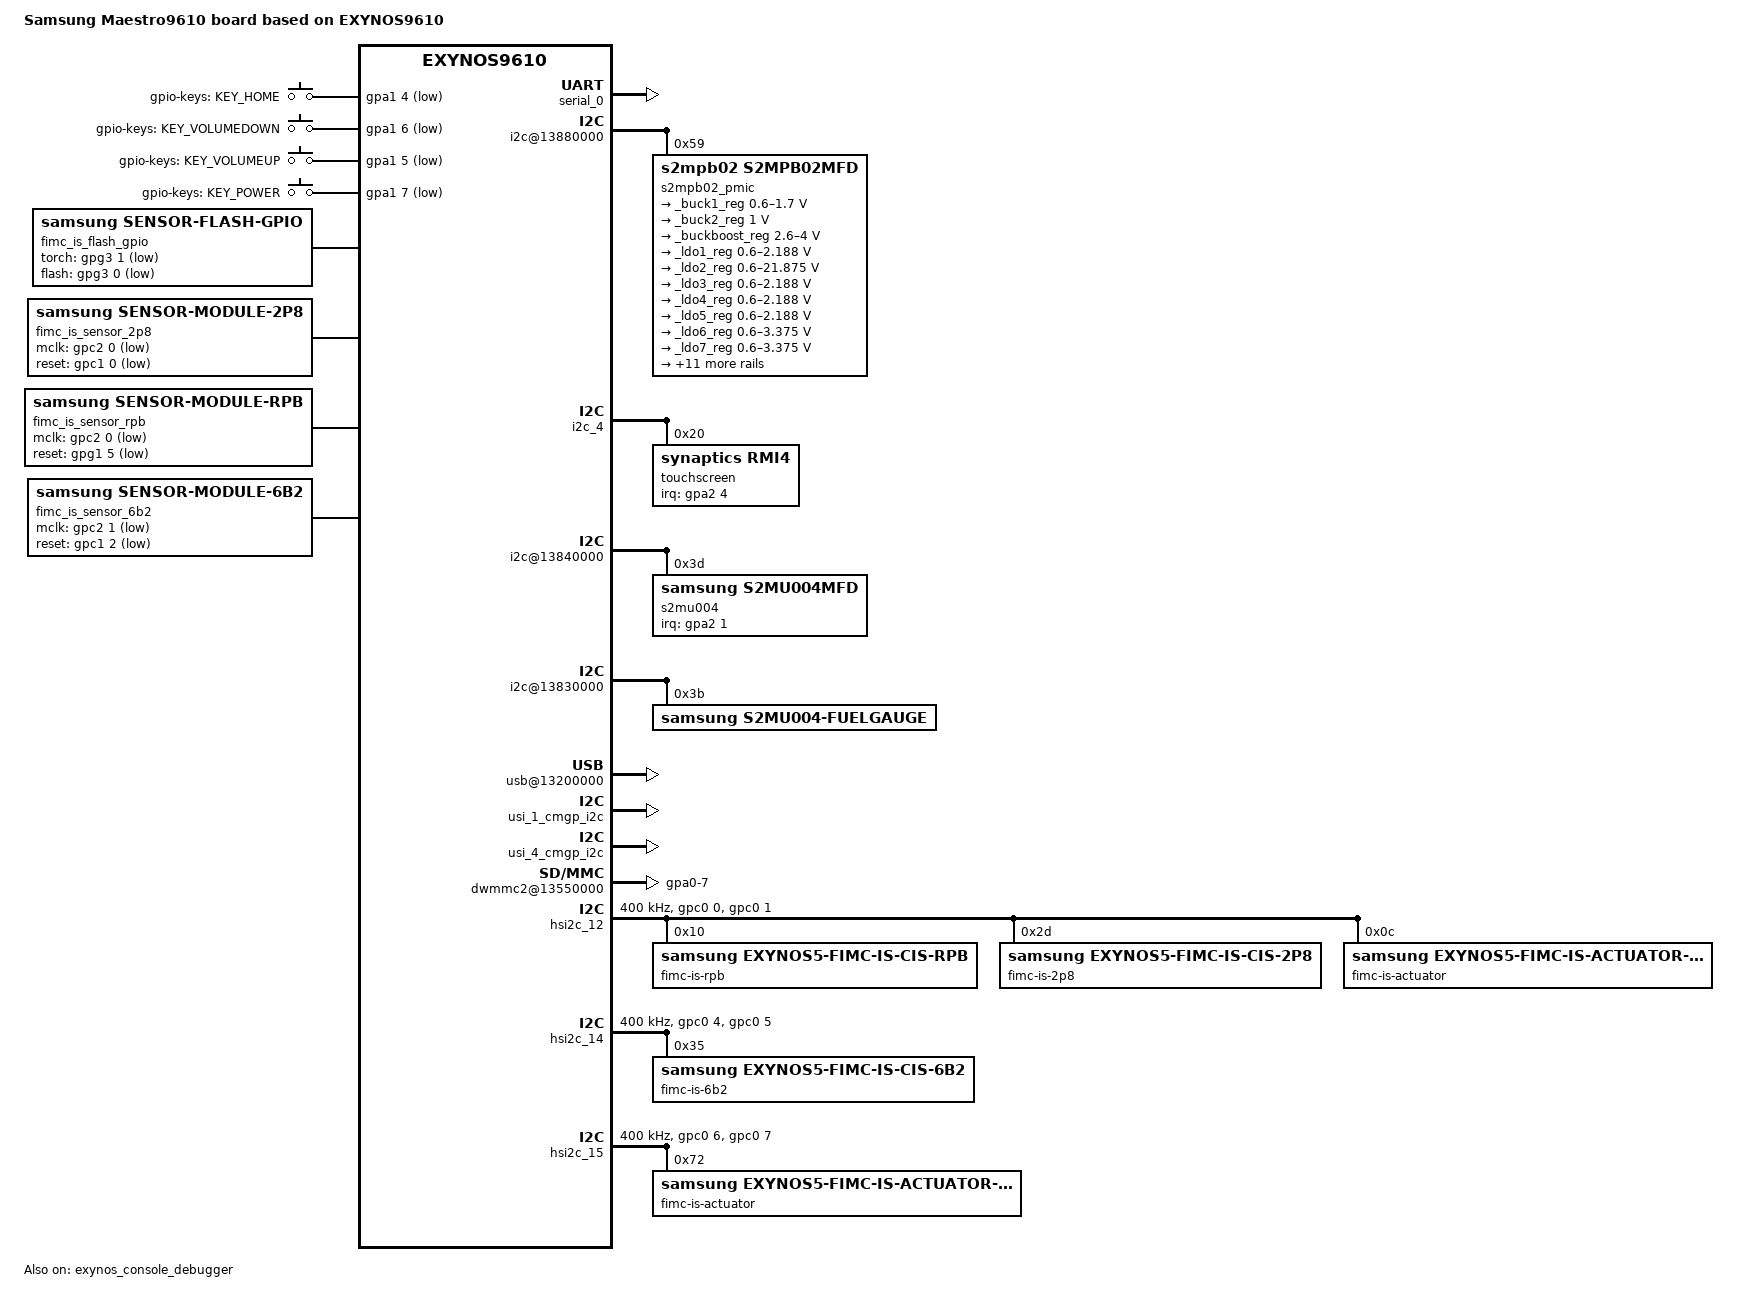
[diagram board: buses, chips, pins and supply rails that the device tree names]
/*
 * SAMSUNG EXYNOS9610 board device tree source
 *
 * Copyright (c) 2017 Samsung Electronics Co., Ltd.
 *		http://www.samsung.com
 *
 * This program is free software; you can redistribute it and/or modify
 * it under the terms of the GNU General Public License version 2 as
 * published by the Free Software Foundation.
 */

/dts-v1/;
#include "exynos9610-rmem.dtsi"
#include "exynos9610.dtsi"
#include "exynos9610-display-lcd.dtsi"
#include "exynos9610_battery_data.dtsi"
#include "modem-ss360ap-sit-pdata.dtsi"

/ {
	model = "Samsung Maestro9610 board based on EXYNOS9610";
	compatible = "samsung,exynos9610", "samsung,Maestro9610";

	ect {
		parameter_address = <0x90000000>;
		parameter_size = <0x19000>;
	};

	memory@80000000 {
		device_type = "memory";
		reg = <0x0 0x80000000 0x80000000>;
	};

	memory@880000000 {
		device_type = "memory";
		reg = <0x00000008 0x80000000 0x80000000>;
	};

	chosen {
		bootargs = "console=ram root=/dev/ram0 clk_ignore_unused bcm_setup=0xffffff80f8e00000 androidboot.hardware=samsungexynos9610 androidboot.selinux=permissive androidboot.debug_level=0x4948 firmware_class.path=/vendor/firmware ecd_setup=normal reserve-fimc=0xffffff80fa000000";
		linux,initrd-start = <0x84000000>;
		linux,initrd-end = <0x841FFFFF>;
	};

	fixed-rate-clocks {
		oscclk {
			compatible = "samsung,exynos9610-oscclk";
			clock-frequency = <26000000>;
		};
	};

	firmware {
		android {
			compatible = "android,firmware";
			fstab {
				compatible = "android,fstab";
				system {
					compatible = "android,system";
					dev = "/dev/block/platform/13520000.ufs/by-name/system";
					type = "ext4";
					mnt_flags = "ro";
					fsmgr_flags = "wait";
				};
				vendor {
					compatible = "android,vendor";
					dev = "/dev/block/platform/13520000.ufs/by-name/vendor";
					type = "ext4";
					mnt_flags = "ro";
					fsmgr_flags = "wait";
				};
			};
		};
	};

	serial_0: uart@13820000 {
		status = "okay";
	};

	/* UART_DBG */
	exynos_console_debugger {
		compatible = "samsung,exynos_console_debugger";
		reg = <0x0 0x13820000 0x100>;
		interrupts = <0 246 0>;
		interrupt-names = "uart_irq";
		pinctrl-names = "default";
		pinctrl-0 = <&uart0_bus>;
		uart_port = <0>;
		/* <sfr_base_address sfr_size> */
		sfr_reg = <0x10000000 0x10000000>;
		samsung,usi-serial-v2;
		status = "ok";
       };

	dsim_0: dsim@0x148E0000 {
		lcd_info = <&s6e3fa0>;
		/* reset */
		gpios = <&gpg1 4 0x1>, <&gpg1 7 0x1>;
	};

	pinctrl@11850000 {
		pmic_irq: pmic-irq {
			samsung,pins = "gpa2-0";
			samsung,pin-pud = <3>;
			samsung,pin-drv = <3>;
		};
		sub_pmic_irq: sub-pmic-irq {
			samsung,pins = "gpa1-3";
			samsung,pin-function = <0>;
			samsung,pin-pud = <0>;
			samsung,pin-drv = <0>;
		};
	};

	pinctrl@139B0000 {
		/* Warm reset information from AP */
		pm_wrsti: pm-wrsti {
			samsung,pins = "gpg0-7";
			samsung,pin-con-pdn = <3>;
		};
	};

	exynos_rgt {
		compatible = "samsung,exynos-rgt";
	};

	mailbox_cp: mcu_ipc@11920000 {
		compatible = "samsung,exynos-shd-ipc-mailbox";
		reg = <0x0 0x11920000 0x180>;
		mcu,name = "mcu_ipc_cp";
		mcu,id = <0>;
		interrupts = <0 40 0 >;
	};

	speedy@11a10000 {
		status = "okay";

		s2mpu09mfd@00 {
			compatible = "samsung,s2mpu09mfd";
			acpm-ipc-channel = <2>;
			i2c-speedy-address;
			s2mpu09,wakeup = "enabled";
			s2mpu09,irq-gpio = <&gpa2 0 0>;
			reg = <0x00>;
			interrupts = <2 0 0>;
			interrupt-parent = <&gpa2>;
			pinctrl-names = "default";
			pinctrl-0 = <&pmic_irq &pm_wrsti>;
			/* RTC: wtsr/smpl */
			wtsr_en = "enabled"; /* enable */
			smpl_en = "enabled"; /* enable */
			wtsr_timer_val = <3>;	/* 1000ms */
			smpl_timer_val = <4>;	/* 500ms */
			check_jigon = <0>; /* do not check jigon */
			/* RTC: If it's first boot, reset rtc to 1/1/2017 12:00:00(Sun) */
			init_time,sec = <0>;
			init_time,min = <0>;
			init_time,hour = <12>;
			init_time,mday = <1>;
			init_time,mon = <0>;
			init_time,year = <117>;
			init_time,wday = <0>;

			regulators {
				b1_reg: BUCK1 {
					regulator-name = "vdd_mif";
					regulator-min-microvolt = <500000>;
					regulator-max-microvolt = <1100000>;
					regulator-always-on;
					regulator-ramp-delay = <12000>;
					regulator-initial-mode = <2>;
				};

				b2_reg: BUCK2 {
					regulator-name = "vdd_cpucl1";
					regulator-min-microvolt = <500000>;
					regulator-max-microvolt = <1300000>;
					regulator-always-on;
					regulator-ramp-delay = <12000>;
					regulator-initial-mode = <1>;
				};

				b3_reg: BUCK3 {
					regulator-name = "vdd_cpucl0";
					regulator-min-microvolt = <500000>;
					regulator-max-microvolt = <1300000>;
					regulator-always-on;
					regulator-ramp-delay = <12000>;
					regulator-initial-mode = <1>;
				};

				b4_reg: BUCK4{
					regulator-name = "vdd_int";
					regulator-min-microvolt = <500000>;
					regulator-max-microvolt = <1100000>;
					regulator-always-on;
					regulator-ramp-delay = <12000>;
					regulator-initial-mode = <2>;
				};

				b5_reg: BUCK5 {
					regulator-name = "vdd_g3d";
					regulator-min-microvolt = <500000>;
					regulator-max-microvolt = <1200000>;
					regulator-always-on;
					regulator-ramp-delay = <12000>;
					regulator-initial-mode = <2>;
				};

				b6_reg: BUCK6 {
					regulator-name = "vdd_cam_vipx";
					regulator-min-microvolt = <500000>;
					regulator-max-microvolt = <1300000>;
					regulator-always-on;
					regulator-ramp-delay = <12000>;
					regulator-initial-mode = <2>;
				};

				b7_reg: BUCK7 {
					regulator-name = "vdd2_mem";
					regulator-min-microvolt = <500000>;
					regulator-max-microvolt = <1300000>;
					regulator-always-on;
					regulator-ramp-delay = <12000>;
					regulator-initial-mode = <3>;
				};

				b8_reg: BUCK8 {
					regulator-name = "vdd_lldo";
					regulator-min-microvolt = <1200000>;
					regulator-max-microvolt = <1500000>;
					regulator-always-on;
					regulator-ramp-delay = <12000>;
					regulator-initial-mode = <3>;
				};

				b9_reg: BUCK9 {
					regulator-name = "vdd_mldo";
					regulator-min-microvolt = <1800000>;
					regulator-max-microvolt = <2100000>;
					regulator-always-on;
					regulator-ramp-delay = <12000>;
					regulator-initial-mode = <3>;
				};

				l1_reg: LDO1 {
					regulator-name = "vdd_ldo1";
					regulator-min-microvolt = <700000>;
					regulator-max-microvolt = <1300000>;
					regulator-always-on;
					regulator-ramp-delay = <12000>;
					regulator-initial-mode = <3>;
				};

				l2_reg: LDO2 {
					regulator-name = "vqmmc";
					regulator-min-microvolt = <1800000>;
					regulator-max-microvolt = <3375000>;
					regulator-ramp-delay = <12000>;
				};

				l3_reg: LDO3 {
					regulator-name = "vdd_ldo3";
					regulator-min-microvolt = <800000>;
					regulator-max-microvolt = <1950000>;
					regulator-always-on;
					regulator-ramp-delay = <12000>;
					regulator-initial-mode = <3>;
				};

				l4_reg: LDO4 {
					regulator-name = "vdd_ldo4";
					regulator-min-microvolt = <500000>;
					regulator-max-microvolt = <1100000>;
					regulator-always-on;
					regulator-ramp-delay = <12000>;
					regulator-initial-mode = <3>;
				};

				l5_reg: LDO5 {
					regulator-name = "vdd_ldo5";
					regulator-min-microvolt = <800000>;
					regulator-max-microvolt = <1300000>;
					regulator-always-on;
					regulator-ramp-delay = <12000>;
					regulator-initial-mode = <3>;
				};

				l6_reg: LDO6 {
					regulator-name = "vdd_ldo6";
					regulator-min-microvolt = <800000>;
					regulator-max-microvolt = <1300000>;
					regulator-always-on;
					regulator-ramp-delay = <12000>;
					regulator-initial-mode = <3>;
				};

				l7_reg: LDO7 {
					regulator-name = "vdd_ldo7";
					regulator-min-microvolt = <800000>;
					regulator-max-microvolt = <1950000>;
					regulator-always-on;
					regulator-ramp-delay = <12000>;
					regulator-initial-mode = <3>;
				};

				l8_reg: LDO8 {
					regulator-name = "vdd_ldo8";
					regulator-min-microvolt = <500000>;
					regulator-max-microvolt = <1300000>;
					regulator-always-on;
					regulator-ramp-delay = <12000>;
					regulator-initial-mode = <3>;
				};

				l9_reg: LDO9 {
					regulator-name = "vdd_ldo9";
					regulator-min-microvolt = <500000>;
					regulator-max-microvolt = <1300000>;
					regulator-always-on;
					regulator-ramp-delay = <12000>;
					regulator-initial-mode = <1>;
				};

				l10_reg: LDO10 {
					regulator-name = "vdd_ldo10";
					regulator-min-microvolt = <500000>;
					regulator-max-microvolt = <1300000>;
					regulator-always-on;
					regulator-ramp-delay = <12000>;
					regulator-initial-mode = <3>;
				};

				l11_reg: LDO11 {
					regulator-name = "vdd_ldo11";
					regulator-min-microvolt = <500000>;
					regulator-max-microvolt = <1300000>;
					regulator-always-on;
					regulator-ramp-delay = <12000>;
					regulator-initial-mode = <3>;
				};

				l12_reg: LDO12 {
					regulator-name = "vdd_ldo12";
					regulator-min-microvolt = <800000>;
					regulator-max-microvolt = <1300000>;
					regulator-always-on;
					regulator-ramp-delay = <12000>;
					regulator-initial-mode = <3>;
				};

				l13_reg: LDO13 {
					regulator-name = "vdd_ldo13";
					regulator-min-microvolt = <800000>;
					regulator-max-microvolt = <1950000>;
					regulator-always-on;
					regulator-ramp-delay = <12000>;
					regulator-initial-mode = <3>;
				};

				l14_reg: LDO14 {
					regulator-name = "vdd_ldo14";
					regulator-min-microvolt = <1800000>;
					regulator-max-microvolt = <3375000>;
					regulator-always-on;
					regulator-ramp-delay = <12000>;
					regulator-initial-mode = <3>;
				};

				l33_reg: LDO33 {
					regulator-name = "vdd_ldo33";
					regulator-min-microvolt = <800000>;
					regulator-max-microvolt = <1950000>;
					regulator-ramp-delay = <12000>;
				};

				l34_reg: LDO34 {
					regulator-name = "vdd_ldo34";
					regulator-min-microvolt = <1800000>;
					regulator-max-microvolt = <3375000>;
					regulator-ramp-delay = <12000>;
				};

				l35_reg: LDO35 {
					regulator-name = "vmmc";
					regulator-min-microvolt = <1800000>;
					regulator-max-microvolt = <3375000>;
					regulator-ramp-delay = <12000>;
				};

				l36_reg: LDO36 {
					regulator-name = "vdd_ldo36";
					regulator-min-microvolt = <500000>;
					regulator-max-microvolt = <1300000>;
					regulator-always-on;
					regulator-ramp-delay = <12000>;
					regulator-initial-mode = <3>;
				};

				l37_reg: LDO37 {
					regulator-name = "vdd_ldo37";
					regulator-min-microvolt = <1800000>;
					regulator-max-microvolt = <3375000>;
					regulator-ramp-delay = <12000>;
				};

				l38_reg: LDO38 {
					regulator-name = "vdd_ldo38";
					regulator-min-microvolt = <1800000>;
					regulator-max-microvolt = <3375000>;
					regulator-ramp-delay = <12000>;
					regulator-always-on;
				};

				l39_reg: LDO39 {
					regulator-name = "vdd_ldo39";
					regulator-min-microvolt = <800000>;
					regulator-max-microvolt = <1950000>;
					regulator-ramp-delay = <12000>;
					regulator-always-on;
				};

				l40_reg: LDO40 {
					regulator-name = "vdd_ldo40";
					regulator-min-microvolt = <1800000>;
					regulator-max-microvolt = <3375000>;
					regulator-ramp-delay = <12000>;
				};

				l41_reg: LDO41 {
					regulator-name = "vdd_ldo41";
					regulator-min-microvolt = <1800000>;
					regulator-max-microvolt = <3375000>;
					regulator-ramp-delay = <12000>;
				};

				l42_reg: LDO42 {
					regulator-name = "vdd_ldo42";
					regulator-min-microvolt = <800000>;
					regulator-max-microvolt = <1950000>;
					regulator-ramp-delay = <12000>;
				};

				l43_reg: LDO43 {
					regulator-name = "vdd_ldo43";
					regulator-min-microvolt = <500000>;
					regulator-max-microvolt = <1300000>;
					regulator-always-on;
					regulator-ramp-delay = <12000>;
					regulator-initial-mode = <3>;
				};

				l44_reg: LDO44 {
					regulator-name = "vdd_ldo44";
					regulator-min-microvolt = <800000>;
					regulator-max-microvolt = <1300000>;
					regulator-ramp-delay = <12000>;
				};
			};
		};
	};

	i2c@13880000 {
		status = "okay";
		s2mpb02_pmic@59 {
			compatible = "s2mpb02,s2mpb02mfd";
			reg = <0x59>;

			s2mpb02,wakeup;
			pinctrl-names = "default";
			pinctrl-0 = <&sub_pmic_irq>;

			regulators {
				_buck1_reg: s2mpb02-buck1 {
					regulator-name = "VDD_EXT_1P3_PB03";
					regulator-min-microvolt = <600000>;
					regulator-max-microvolt = <1700000>;
					regulator-always-on;
					regulator-boot-on;
				};

				_buck2_reg: s2mpb02-buck2 {
					regulator-name = "VDDD_1.0V_CAM";
					regulator-min-microvolt = <1000000>;
					regulator-max-microvolt = <1000000>;
					/* regulator-always-on; */
					/* regulator-boot-on; */
				};

				_buckboost_reg: s2mpb02-bb {
					regulator-name = "VREG_BOOST_BYP";
					regulator-min-microvolt = <2600000>;
					regulator-max-microvolt = <4000000>;
					regulator-always-on;
					regulator-boot-on;
				};

				_ldo1_reg: s2mpb02-ldo1 {
					regulator-name = "S2MPB02_LDO1";
					regulator-min-microvolt = <600000>;
					regulator-max-microvolt = <2187500>;
				};

				_ldo2_reg: s2mpb02-ldo2 {
					regulator-name = "S2MPB02_LDO2";
					regulator-min-microvolt = <600000>;
					regulator-max-microvolt = <21875000>;
				};

				_ldo3_reg: s2mpb02-ldo3 {
					regulator-name = "VDDD_1.05V_SUB";
					regulator-min-microvolt = <600000>;
					regulator-max-microvolt = <2187500>;
				};

				_ldo4_reg: s2mpb02-ldo4 {
					regulator-name = "S2MPB02_LDO4";
					regulator-min-microvolt = <600000>;
					regulator-max-microvolt = <2187500>;
				};

				_ldo5_reg: s2mpb02-ldo5 {
					regulator-name = "VDDD_1.05V_VT";
					regulator-min-microvolt = <600000>;
					regulator-max-microvolt = <2187500>;
				};

				_ldo6_reg: s2mpb02-ldo6 {
					regulator-name = "VDDIO_1.8V_VT";
					regulator-min-microvolt = <600000>;
					regulator-max-microvolt = <3375000>;
				};

				_ldo7_reg: s2mpb02-ldo7 {
					regulator-name = "VDDIO_1.8V_SUB";
					regulator-min-microvolt = <600000>;
					regulator-max-microvolt = <3375000>;
				};

				_ldo8_reg: s2mpb02-ldo8 {
					regulator-name = "VDDIO_1.8V_CAM";
					regulator-min-microvolt = <1800000>;
					regulator-max-microvolt = <1800000>;
				};

				_ldo9_reg: s2mpb02-ldo9 {
					regulator-name = "DOVDD_VT_CAM_1V8";
					regulator-min-microvolt = <1800000>;
					regulator-max-microvolt = <1800000>;
				};

				_ldo10_reg: s2mpb02-ldo10 {
					regulator-name = "VDDD_1.8V_OIS";
					regulator-min-microvolt = <600000>;
					regulator-max-microvolt = <3375000>;
				};

				_ldo11_reg: s2mpb02-ldo11 {
					regulator-name = "VDDA_2.8V_CAM";
					regulator-min-microvolt = <2800000>;
					regulator-max-microvolt = <2800000>;
				};

				_ldo12_reg: s2mpb02-ldo12 {
					regulator-name = "VDDD_2.8V_OIS";
					regulator-min-microvolt = <2800000>;
					regulator-max-microvolt = <2800000>;
				};

				_ldo13_reg: s2mpb02-ldo13 {
					regulator-name = "VDDA_2.8V_VT";
					regulator-min-microvolt = <600000>;
					regulator-max-microvolt = <3375000>;
				};

				_ldo14_reg: s2mpb02-ldo14 {
					regulator-name = "VDD_VT_CAM_2V8";
					regulator-min-microvolt = <2800000>;
					regulator-max-microvolt = <2800000>;
				};

				_ldo15_reg: s2mpb02-ldo15 {
					regulator-name = "VDD_2.8V_AF";
					regulator-min-microvolt = <2800000>;
					regulator-max-microvolt = <2800000>;
				};

				_ldo16_reg: s2mpb02-ldo16 {
					regulator-name = "VDD_2.8V_OIS";
					regulator-min-microvolt = <2800000>;
					regulator-max-microvolt = <2800000>;
				};

				_ldo17_reg: s2mpb02-ldo17 {
					regulator-name = "S2MPB02_LDO17";
					regulator-min-microvolt = <600000>;
					regulator-max-microvolt = <3375000>;
				};

				_ldo18_reg: s2mpb02-ldo18 {
					regulator-name = "VDD_PROXY_LED_3P3";
					regulator-min-microvolt = <600000>;
					regulator-max-microvolt = <3375000>;
				};
			};

			torch {
				torch1-gpio = "gpg3-1";
				flash1-gpio = "gpg3-0";

				status = "okay";

				leds1 {
					ledname = "leds-sec1";
					id = <0>;
					brightness = <0xC>; /* (n+1)x100 : 1300mA */
					timeout = <0x7>; /* (n+1)x62.6 : 500ms */
					torch_table_enable = <0>;
				};

				leds2 {
					ledname = "torch-sec1";
					id = <1>;
					brightness = <0xC>; /* (n+1)x20 = 260mA */
					timeout = <0xF>;
					torch_table_enable = <1>;
					torch_table = <2 4 4 5 6 8 9 10 10 12>;
				};
			};
		};
	};

	gpio_keys {
		status = "okay";
		compatible = "gpio-keys";
		#address-cells = <1>;
		#size-cells = <0>;
		pinctrl-names = "default";
		pinctrl-0 = <&key_home &key_voldown &key_volup &key_power>;
		button@1 {
			label = "gpio-keys: KEY_HOME";
			linux,code = <172>;
			gpios = <&gpa1 4 0xf>;
			gpio-key,wakeup = <1>;
		};
		button@2 {
			label = "gpio-keys: KEY_VOLUMEDOWN";
			linux,code = <114>;
			gpios = <&gpa1 6 0xf>;
		};
		button@3 {
			label = "gpio-keys: KEY_VOLUMEUP";
			linux,code = <115>;
			gpios = <&gpa1 5 0xf>;
		};
		button@4 {
			label = "gpio-keys: KEY_POWER";
			linux,code = <116>;
			gpios = <&gpa1 7 0xf>;
			gpio-key,wakeup = <1>;
		};
	};

	pinctrl@11850000 {
		key_home: key-home {
			samsung,pins = "gpa1-4";
			samsung,pin-function = <0xf>;
			samsung,pin-pud = <0>;
			samsung,pin-drv = <0>;
		};

		key_voldown: key-voldown {
			samsung,pins = "gpa1-6";
			samsung,pin-function = <0xf>;
			samsung,pin-pud = <0>;
			samsung,pin-drv = <0>;
		};

		key_volup: key-volup {
			samsung,pins = "gpa1-5";
			samsung,pin-function = <0xf>;
			samsung,pin-pud = <0>;
			samsung,pin-drv = <0>;
		};
		key_power: key-power {
			samsung,pins = "gpa1-7";
			samsung,pin-function = <0xf>;
			samsung,pin-pud = <0>;
			samsung,pin-drv = <0>;
		};
	};

	i2c_4:i2c@13870000 {
		status = "okay";
		#address-cells = <1>;
		#size-cells = <0>;
		touchscreen@20 {
			compatible = "synaptics,rmi4";
			reg = <0x20>;
			pinctrl-names = "on_state", "off_state";
			pinctrl-0 = <&attn_irq>;
			pinctrl-1 = <&attn_input>;
			synaptics,irq_gpio = <&gpa2 4 0>;
			synaptics,irq_type = <8200>;
			synaptics,max_coords = <1440 2560>;     /* x y */
			synaptics,num_lines = <29 16>;          /* rx tx */
			synaptics,regulator_dvdd = "VDDD_1.8V_OIS";
			synaptics,regulator_avdd = "vdd_ldo41";
		};
	};

	pinctrl@11850000 {
		attn_irq: attn-irq {
			samsung,pins = "gpa2-4";
			samsung,pin-function = <0xf>;
			samsung,pin-pud = <0>;
			samsung,pin-drv = <0>;
		};
		attn_input: attn-input {
			samsung,pins = "gpa2-4";
			samsung,pin-function = <0>;
			samsung,pin-pud = <1>;
		};

		fuel_irq: fuel-irq {
			samsung,pins = "gpa2-3";
			samsung,pin-function = <0>;
			samsung,pin-pud = <2>;
			samsung,pin-drv = <0>;
		};

		if_pmic_irq: if-pmic-irq {
			samsung,pins = "gpa2-1";
			samsung,pin-function = <0>;
			samsung,pin-pud = <0>;
			samsung,pin-drv = <0>;
		};
	};

	i2c@13840000 {
		status = "okay";
		s2mu004@3d {
			compatible = "samsung,s2mu004mfd";
			reg = <0x3d>;
			pinctrl-names = "default";
			pinctrl-0 = <&if_pmic_irq>;
			s2mu004,irq-gpio = <&gpa2 1 0>;
			s2mu004,wakeup;
		};

		muic {
			status = "okay";
			muic,uart_addr = "11850000.pinctrl";
			muic,uart_rxd = "gpq0-3";
			muic,uart_txd = "gpq0-4";
		};
	};

	s2mu004-charger {
		status = "okay";
		battery,charger_name = "s2mu004-charger";
		battery,chg_gpio_en = <0>;
		battery,chg_polarity_en = <0>;
		battery,chg_gpio_status = <0>;
		battery,chg_polarity_status = <0>;
		battery,chg_float_voltage = <4350>;
		battery,chg_recharge_vcell = <4250>;
		battery,chg_full_vcell = <4300>;
		battery,full_check_type = <2>;
		battery,full_check_type_2nd = <2>;
		battery,input_current_limit = <1800 450 450 1800 500 900 1500 450 1000 450 900 900 900 1900 1800 450 450 400 700 1300 300 1000 1500 450 1650 2100 500 1650 80 1800 1650 1400 1000 1000 700 900 900 900 500 1800 1650 3000>;
		battery,fast_charging_current = <2100 450 450 2100 800 1200 1500 450 1200 450 2100 2100 2100 1600 2100 450 450 400 700 1300 300 1000 1500 450 2400 3500 500 2400 80 1800 1000 1400 450 1000 2100 2100 2100 2100 450 2100 2400 3000>;
		battery,full_check_current_1st = <300 0 0 300 300 300 300 300 300 0 300 300 300 300 300 0 0 300 300 300 300 300 300 0 300 300 300 300 0 300 300 300 0 300 300 300 300 300 300 300 300 300>;
		battery,full_check_current_2nd = <100 0 0 100 100 100 100 100 100 0 100 100 100 100 100 0 0 100 100 100 100 100 100 0 100 100 100 100 0 100 100 100 0 100 100 100 100 100 100 100 100 100>;
	};

	i2c@13830000 {
		status = "okay";
		s2mu004-fuelgauge@3B {
			compatible = "samsung,s2mu004-fuelgauge";
			reg = <0x3B>;
			pinctrl-names = "default";
			pinctrl-0 = <&fuel_irq>;
			fuelgauge,fuel_int = <&gpa2 3 0>;
			fuelgauge,fuel_alert_soc = <1>;
			fuelgauge,capacity_max = <1000>;
			fuelgauge,capacity_max_margin = <70>;
			fuelgauge,capacity_min = <0>;
			fuelgauge,capacity_calculation_type = <28>;
			fuelgauge,type_str = "SDI";
			fuelgauge,model_type = <1>;
		};
	};

	usb@13200000 {
		status = "okay";
		dwc3 {
			dr_mode = "otg";
			maximum-speed = "high-speed";
		};
	};

	phy@131D0000 {
		status = "okay";

		hs_tune_param = <&usb_hs_tune>;
	};

	usb_hs_tune:hs_tune {
		hs_tune_cnt = <12>;

		/* value = <device host> */
		hs_tune1 {
			tune_name = "tx_vref";
			tune_value = <0xf 0xf>;
		};

		hs_tune2 {
			tune_name = "tx_pre_emp";
			tune_value = <0x3 0x3>;
		};

		hs_tune3 {
			tune_name = "tx_pre_emp_plus";
			tune_value = <0x0 0x0>;
		};

		hs_tune4 {
			tune_name = "tx_res";
			tune_value = <0x3 0x3>;
		};

		hs_tune5 {
			tune_name = "tx_rise";
			tune_value = <0x3 0x3>;
		};

		hs_tune6 {
			tune_name = "tx_hsxv";
			tune_value = <0x3 0x3>;
		};

		hs_tune7 {
			tune_name = "tx_fsls";
			tune_value = <0x3 0x3>;
		};

		hs_tune8 {
			tune_name = "rx_sqrx";
			tune_value = <0x7 0x7>;
		};

		hs_tune9 {
			tune_name = "compdis";
			tune_value = <0x7 0x7>;
		};

		hs_tune10 {
			tune_name = "otg";
			tune_value = <0x2 0x2>;
		};

		hs_tune11 {
		/* true : 1, false: 0 */
		/* <enable_user_imp user_imp_value> */
			tune_name = "enable_user_imp";
			tune_value = <0x0 0x0>;
		};

		hs_tune12 {
		/* PHY clk : 1 , FREE clk : 0 */
			tune_name = "is_phyclock";
			tune_value = <0x1 0x1>;
		};
	};

	/* USI_0_SHUB */
	usi_0_shub: usi@11013000 {
		usi_mode_v2 = "spi";
		status = "okay";
	};

	/* USI_SHUB_0_I2C */
	usi_0_shub_i2c: usi@11013018 {
		/*	usi_mode_v2 = "i2c" or "spi" or "uart"	*/
		status = "disabled";
	};

	/* USI_0_CMGP */
	usi_0_cmgp: usi@11B12000 {
		/*	usi_mode_v2 = "i2c" or "spi" or "uart"	*/
		status = "disabled";
	};

	/* USI_0_CMGP_I2C */
	usi_0_cmgp_i2c: usi@11B12004 {
		/*	usi_mode_v2 = "i2c" or "spi" or "uart"	*/
		status = "disabled";
	};

	/* USI_1_CMGP */
	usi_1_cmgp: usi@11B12010 {
		usi_mode_v2 = "i2c";
		status = "okay";
	};

	/* USI_1_CMGP_I2C */
	usi_1_cmgp_i2c: usi@11B12014 {
		usi_mode_v2 = "i2c";
		status = "okay";
	};

	/* USI_2_CMGP */
	usi_2_cmgp: usi@11B12020 {
		/*	usi_mode_v2 = "i2c" or "spi" or "uart"	*/
		status = "disabled";
	};

	/* USI_2_CMGP_I2C */
	usi_2_cmgp_i2c: usi@11B12024 {
		/*	usi_mode_v2 = "i2c" or "spi" or "uart"	*/
		status = "disabled";
	};

	/* USI_3_CMGP */
	usi_3_cmgp: usi@11B12030 {
		/*	usi_mode_v2 = "i2c" or "spi" or "uart"	*/
		status = "disabled";
	};

	/* USI_3_CMGP_I2C */
	usi_3_cmgp_i2c: usi@11B12034 {
		/*	usi_mode_v2 = "i2c" or "spi" or "uart"	*/
		status = "disabled";
	};

	/* USI_4_CMGP */
	usi_4_cmgp: usi@11B12040 {
		usi_mode_v2 = "i2c";
		status = "okay";
	};

	/* USI_4_CMGP_I2C */
	usi_4_cmgp_i2c: usi@11B12044 {
		usi_mode_v2 = "i2c";
		status = "okay";
	};

	/* USI_PERI_UART */
	usi_peri_uart: usi@10011010 {
		/*	usi_mode_v2 = "i2c" or "spi" or "uart"	*/
		status = "disabled";
	};

	/* USI_PERI_CAMI2C_0 */
	usi_peri_cami2c_0: usi@10011020 {
		/*	usi_mode_v2 = "i2c" or "spi" or "uart"	*/
		status = "disabled";
	};

	/* USI_PERI_CAMI2C_1 */
	usi_peri_cami2c_1: usi@10011024 {
		/*	usi_mode_v2 = "i2c" or "spi" or "uart"	*/
		status = "disabled";
	};

	/* USI_PERI_CAMI2C_2 */
	usi_peri_cami2c_2: usi@10011028 {
		/*	usi_mode_v2 = "i2c" or "spi" or "uart"	*/
		status = "disabled";
	};

	/* USI_PERI_CAMI2C_3 */
	usi_peri_cami2c_3: usi@1001102C {
		/*	usi_mode_v2 = "i2c" or "spi" or "uart"	*/
		status = "disabled";
	};

	/* USI_PERI_SPI_0 */
	usi_peri_spi_0: usi@10011030 {
		/*	usi_mode_v2 = "i2c" or "spi" or "uart"	*/
		status = "disabled";
	};

	/* USI_PERI_SPI_1 */
	usi_peri_spi_1: usi@10011034 {
		/*	usi_mode_v2 = "i2c" or "spi" or "uart"	*/
		status = "disabled";
	};

	/* USI_PERI_USI_0 */
	usi_peri_usi_0: usi@1001103C {
		/*	usi_mode_v2 = "i2c" or "spi" or "uart"	*/
		status = "disabled";
	};

	/* USI_PERI_USI_0_I2C */
	usi_peri_usi_0_i2c: usi@10011040 {
		/*	usi_mode_v2 = "i2c" or "spi" or "uart"	*/
		status = "disabled";
	};

	/* USI_PERI_SPI_2 */
	usi_peri_spi_2: usi@10011038 {
		/*	usi_mode_v2 = "i2c" or "spi" or "uart"	*/
		status = "disabled";
	};

	usb_notifier {
		compatible = "samsung,usb-notifier";
		udc = <&udc>;
	};

	dwmmc0@13500000 {
		status = "disabled";
		num-slots = <1>;
		broken-cd;
		fixed_voltage;
		supports-highspeed;
		mmc-ddr-1_8v;
		mmc-hs200-1_8v;
		mmc-hs400-1_8v;
		supports-8bit;
		supports-cmd23;
		supports-erase;
		supports-hs400-enhanced-strobe;
		card-init-hwacg-ctrl;
		pm-skip-mmc-resume-init;
		support-cmdq;
		qos-dvfs-level = <100000>;
		fifo-depth = <0x40>;
		non-removable;
		desc-size = <4>;
		card-detect-delay = <200>;
		samsung,dw-mshc-ciu-div = <3>;
		samsung,dw-mshc-txdt-crc-timer-fastlimit = <0x13>;
		samsung,dw-mshc-txdt-crc-timer-initval = <0x15>;
		samsung,dw-mshc-hs400-delay-line = <0x60>;
		samsung,dw-mshc-sdr-timing = <3 0 4 0>;
		samsung,dw-mshc-ddr-timing = <3 0 4 2>;
		samsung,dw-mshc-hs200-timing = <3 0 3 0>;
		samsung,dw-mshc-hs400-timing = <1 0 2 0>;
		samsung,dw-mshc-hs400-ulp-timing = <3 0 2 0>;

		num-ref-clks = <12>;
		ciu_clkin = <25 50 50 25 50 100 200 50 50 200 200 200>;

		/* Swapping clock drive strength */
		clk-drive-number = <4>;
		pinctrl-names = "default",
			"fast-slew-rate-1x",
			"fast-slew-rate-2x",
			"fast-slew-rate-3x",
			"fast-slew-rate-4x";
		pinctrl-0 = <&sd0_clk &sd0_cmd &sd0_rdqs &sd0_bus1 &sd0_bus4 &sd0_bus8>;
		pinctrl-1 = <&sd0_clk_fast_slew_rate_1x>;
		pinctrl-2 = <&sd0_clk_fast_slew_rate_2x>;
		pinctrl-3 = <&sd0_clk_fast_slew_rate_3x>;
		pinctrl-4 = <&sd0_clk_fast_slew_rate_4x>;
		slot@0 {
			reg = <0>;
			bus-width = <8>;
		};
	};

	pinctrl@11850000 {
		dwmmc2_cd_ext_irq: dwmmc2_cd_ext_irq {
			samsung,pins = "gpa0-7";
			samsung,pin-function = <0xf>;
			samsung,pin-pud = <3>;
			samsung,pin-drv = <3>;
		};
	};

	dwmmc2@13550000 {
		status = "okay";
		num-slots = <1>;
		supports-4bit;
		supports-cmd23;
		supports-erase;
		supports-highspeed;
		sd-uhs-sdr50;
		sd-uhs-sdr104;
		card-detect-gpio;
		bypass-for-allpass;
		card-init-hwacg-ctrl;
		skip-init-mmc-scan;
		qos-dvfs-level = <100000>;
		fifo-depth = <0x40>;
		desc-size = <4>;
		card-detect-delay = <200>;
		data-timeout = <200>;
		hto-timeout = <80>;
		samsung,dw-mshc-ciu-div = <3>;
		clock-frequency = <800000000>;
		samsung,dw-mshc-sdr-timing = <3 0 2 0>;
		samsung,dw-mshc-ddr-timing = <3 0 2 1>;
		samsung,dw-mshc-sdr50-timing = <3 0 4 2>;
		samsung,dw-mshc-sdr104-timing = <3 0 3 0>;

		num-ref-clks = <9>;
		ciu_clkin = <25 50 50 25 50 100 200 50 50>;

		/* Swapping clock drive strength */
		clk-drive-number = <4>;
		pinctrl-names = "default",
			"fast-slew-rate-1x",
			"fast-slew-rate-2x",
			"fast-slew-rate-3x",
			"fast-slew-rate-4x";
		pinctrl-0 = <&sd2_clk &sd2_cmd &sd2_bus1 &sd2_bus4 &dwmmc2_cd_ext_irq>;
		pinctrl-1 = <&sd2_clk_fast_slew_rate_1x>;
		pinctrl-2 = <&sd2_clk_fast_slew_rate_2x>;
		pinctrl-3 = <&sd2_clk_fast_slew_rate_3x>;
		pinctrl-4 = <&sd2_clk_fast_slew_rate_4x>;

		card-detect = <&gpa0 7 0xf>;
		slot@0 {
			reg = <0>;
			bus-width = <4>;
			disable-wp;
		};
	};

	fimc_is@144B0000 {
		vender {
			rear_sensor_id = <46>; /* RPB */
			front_sensor_id = <7>; /* 6B2 */
			rear_second_sensor_id = <0>; /* NOTHING  */
			secure_sensor_id = <22>; /* 5E2 */
		};

		fimc_is_dvfs {
			#define DVFS_INT_CAM_L0 690000
			#define DVFS_INT_CAM_L1 680000
			#define DVFS_INT_CAM_L2 670000
			#define DVFS_INT_CAM_L3 660000
			#define DVFS_INT_CAM_L4 650000

			#define DVFS_INT_L0 667000
			#define DVFS_INT_L1 533000
			#define DVFS_INT_L2 400000
			#define DVFS_INT_L3 200000
			#define DVFS_INT_L4 100000

			#define DVFS_CAM_L0 690000
			#define DVFS_CAM_L1 680000
			#define DVFS_CAM_L2 670000
			#define DVFS_CAM_L3 660000
			#define DVFS_CAM_L4 650000
			#define DVFS_CAM_L5 640000

			#define DVFS_MIF_L0 2093000
			#define DVFS_MIF_L1 2002000
			#define DVFS_MIF_L2 1794000
			#define DVFS_MIF_L3 1539000
			#define DVFS_MIF_L4 1352000
			#define DVFS_MIF_L5 1014000
			#define DVFS_MIF_L6 845000
			#define DVFS_MIF_L7 676000
			#define DVFS_MIF_L8 546000
			#define DVFS_MIF_L9 419000

			table0 {
				desc = "dvfs table v0.0 for 16M/2M";

				default_int_cam = <DVFS_INT_CAM_L0>;
				default_cam = <DVFS_CAM_L0>;
				default_mif = <DVFS_MIF_L0>;
				default_int = <DVFS_INT_L4>;
				default_hpg = <1>;

				front_preview_int_cam = <DVFS_INT_CAM_L3>;
				front_preview_cam = <DVFS_CAM_L4>;
				front_preview_mif = <DVFS_MIF_L7>;
				front_preview_int = <DVFS_INT_L4>;
				front_preview_hpg = <1>;

				front_preview_full_int_cam = <DVFS_INT_CAM_L3>;
				front_preview_full_cam = <DVFS_CAM_L4>;
				front_preview_full_mif = <DVFS_MIF_L7>;
				front_preview_full_int = <DVFS_INT_L4>;
				front_preview_full_hpg = <1>;

				front_capture_int_cam = <DVFS_INT_CAM_L3>;
				front_capture_cam = <DVFS_CAM_L4>;
				front_capture_mif = <DVFS_MIF_L7>;
				front_capture_int = <DVFS_INT_L4>;
				front_capture_hpg = <1>;

				front_video_int_cam = <DVFS_INT_CAM_L3>;
				front_video_cam = <DVFS_CAM_L4>;
				front_video_mif = <DVFS_MIF_L7>;
				front_video_int = <DVFS_INT_L4>;
				front_video_hpg = <1>;

				front_video_capture_int_cam = <DVFS_INT_CAM_L3>;
				front_video_capture_cam = <DVFS_CAM_L4>;
				front_video_capture_mif = <DVFS_MIF_L7>;
				front_video_capture_int = <DVFS_INT_L4>;
				front_video_capture_hpg = <1>;

				front_wide_selfie_int_cam = <DVFS_INT_CAM_L3>;
				front_wide_selfie_cam = <DVFS_CAM_L4>;
				front_wide_selfie_mif = <DVFS_MIF_L7>;
				front_wide_selfie_int = <DVFS_INT_L4>;
				front_wide_selfie_hpg = <1>;

				front_vt1_int_cam = <DVFS_INT_CAM_L3>;
				front_vt1_cam = <DVFS_CAM_L4>;
				front_vt1_mif = <DVFS_MIF_L7>;
				front_vt1_int = <DVFS_INT_L4>;
				front_vt1_hpg = <1>;

				front_vt2_int_cam = <DVFS_INT_CAM_L3>;
				front_vt2_cam = <DVFS_CAM_L4>;
				front_vt2_mif = <DVFS_MIF_L7>;
				front_vt2_int = <DVFS_INT_L4>;
				front_vt2_hpg = <1>;

				front_vt4_int_cam = <DVFS_INT_CAM_L3>;
				front_vt4_cam = <DVFS_CAM_L4>;
				front_vt4_mif = <DVFS_MIF_L7>;
				front_vt4_int = <DVFS_INT_L4>;
				front_vt4_hpg = <1>;

				rear_preview_fhd_int_cam = <DVFS_INT_CAM_L3>;
				rear_preview_fhd_cam = <DVFS_CAM_L3>;
				rear_preview_fhd_mif = <DVFS_MIF_L7>;
				rear_preview_fhd_int = <DVFS_INT_L4>;
				rear_preview_fhd_hpg = <1>;

				rear_preview_hd_int_cam = <DVFS_INT_CAM_L3>;
				rear_preview_hd_cam = <DVFS_CAM_L3>;
				rear_preview_hd_mif = <DVFS_MIF_L7>;
				rear_preview_hd_int = <DVFS_INT_L4>;
				rear_preview_hd_hpg = <1>;

				rear_preview_uhd_int_cam = <DVFS_INT_CAM_L3>;
				rear_preview_uhd_cam = <DVFS_CAM_L3>;
				rear_preview_uhd_mif = <DVFS_MIF_L7>;
				rear_preview_uhd_int = <DVFS_INT_L4>;
				rear_preview_uhd_hpg = <1>;

				rear_preview_full_int_cam = <DVFS_INT_CAM_L2>;
				rear_preview_full_cam = <DVFS_CAM_L3>;
				rear_preview_full_mif = <DVFS_MIF_L4>;
				rear_preview_full_int = <DVFS_INT_L4>;
				rear_preview_full_hpg = <1>;

				rear_capture_int_cam = <DVFS_INT_CAM_L2>;
				rear_capture_cam = <DVFS_CAM_L3>;
				rear_capture_mif = <DVFS_MIF_L4>;
				rear_capture_int = <DVFS_INT_L4>;
				rear_capture_hpg = <1>;

				rear_video_fhd_int_cam = <DVFS_INT_CAM_L3>;
				rear_video_fhd_cam = <DVFS_CAM_L3>;
				rear_video_fhd_mif = <DVFS_MIF_L5>;
				rear_video_fhd_int = <DVFS_INT_L4>;
				rear_video_fhd_hpg = <1>;

				rear_video_hd_int_cam = <DVFS_INT_CAM_L3>;
				rear_video_hd_cam = <DVFS_CAM_L3>;
				rear_video_hd_mif = <DVFS_MIF_L6>;
				rear_video_hd_int = <DVFS_INT_L4>;
				rear_video_hd_hpg = <1>;

				rear_video_uhd_int_cam = <DVFS_INT_CAM_L3>;
				rear_video_uhd_cam = <DVFS_CAM_L3>;
				rear_video_uhd_mif = <DVFS_MIF_L4>;
				rear_video_uhd_int = <DVFS_INT_L4>;
				rear_video_uhd_hpg = <1>;

				rear_video_fhd_capture_int_cam = <DVFS_INT_CAM_L1>;
				rear_video_fhd_capture_cam = <DVFS_CAM_L3>;
				rear_video_fhd_capture_mif = <DVFS_MIF_L5>;
				rear_video_fhd_capture_int = <DVFS_INT_L4>;
				rear_video_fhd_capture_hpg = <1>;

				rear_video_hd_capture_int_cam = <DVFS_INT_CAM_L1>;
				rear_video_hd_capture_cam = <DVFS_CAM_L3>;
				rear_video_hd_capture_mif = <DVFS_MIF_L5>;
				rear_video_hd_capture_int = <DVFS_INT_L4>;
				rear_video_hd_capture_hpg = <1>;

				rear_video_uhd_capture_int_cam = <DVFS_INT_CAM_L1>;
				rear_video_uhd_capture_cam = <DVFS_CAM_L3>;
				rear_video_uhd_capture_mif = <DVFS_MIF_L3>;
				rear_video_uhd_capture_int = <DVFS_INT_L4>;
				rear_video_uhd_capture_hpg = <1>;

				secure_front_int_cam = <DVFS_INT_CAM_L3>;
				secure_front_cam = <DVFS_CAM_L4>;
				secure_front_mif = <DVFS_MIF_L7>;
				secure_front_int = <DVFS_INT_L4>;
				secure_front_hpg = <1>;

				pip_preview_int_cam = <DVFS_INT_CAM_L0>;
				pip_preview_cam = <DVFS_CAM_L0>;
				pip_preview_mif = <DVFS_MIF_L0>;
				pip_preview_int = <DVFS_INT_L4>;
				pip_preview_hpg = <1>;

				pip_capture_int_cam = <DVFS_INT_CAM_L0>;
				pip_capture_cam = <DVFS_CAM_L0>;
				pip_capture_mif = <DVFS_MIF_L0>;
				pip_capture_int = <DVFS_INT_L4>;
				pip_capture_hpg = <1>;

				pip_video_int_cam = <DVFS_INT_CAM_L0>;
				pip_video_cam = <DVFS_CAM_L0>;
				pip_video_mif = <DVFS_MIF_L0>;
				pip_video_int = <DVFS_INT_L4>;
				pip_video_hpg = <1>;

				pip_video_capture_int_cam = <DVFS_INT_CAM_L0>;
				pip_video_capture_cam = <DVFS_CAM_L0>;
				pip_video_capture_mif = <DVFS_MIF_L0>;
				pip_video_capture_int = <DVFS_INT_L4>;
				pip_video_capture_hpg = <1>;

				preview_high_speed_fps_int_cam = <DVFS_INT_CAM_L1>;
				preview_high_speed_fps_cam = <DVFS_CAM_L3>;
				preview_high_speed_fps_mif = <DVFS_MIF_L5>;
				preview_high_speed_fps_int = <DVFS_INT_L4>;
				preview_high_speed_fps_hpg = <1>;

				video_high_speed_60fps_int_cam = <DVFS_INT_CAM_L1>;
				video_high_speed_60fps_cam = <DVFS_CAM_L3>;
				video_high_speed_60fps_mif = <DVFS_MIF_L5>;
				video_high_speed_60fps_int = <DVFS_INT_L4>;
				video_high_speed_60fps_hpg = <1>;

				video_high_speed_480fps_int_cam = <DVFS_INT_CAM_L0>;
				video_high_speed_480fps_cam = <DVFS_CAM_L0>;
				video_high_speed_480fps_mif = <DVFS_MIF_L0>;
				video_high_speed_480fps_int = <DVFS_INT_L0>;
				video_high_speed_480fps_hpg = <1>;

				video_high_speed_60fps_capture_int_cam = <DVFS_INT_CAM_L1>;
				video_high_speed_60fps_capture_cam = <DVFS_CAM_L3>;
				video_high_speed_60fps_capture_mif = <DVFS_MIF_L5>;
				video_high_speed_60fps_capture_int = <DVFS_INT_L4>;
				video_high_speed_60fps_capture_hpg = <1>;

				ext_front_int_cam = <DVFS_INT_CAM_L0>;
				ext_front_cam = <DVFS_CAM_L0>;
				ext_front_mif = <DVFS_MIF_L0>;
				ext_front_int = <DVFS_INT_L4>;
				ext_front_hpg = <1>;

				ext_secure_int_cam = <DVFS_INT_CAM_L3>;
				ext_secure_cam = <DVFS_CAM_L4>;
				ext_secure_mif = <DVFS_MIF_L7>;
				ext_secure_int = <DVFS_INT_L4>;
				ext_secure_hpg = <1>;

				max_int_cam = <DVFS_INT_CAM_L0>;
				max_cam = <DVFS_CAM_L0>;
				max_mif = <DVFS_MIF_L0>;
				max_int = <DVFS_INT_L0>;
				max_hpg = <1>;
			};
		};
	};

	fimc_is_flash_gpio: fimc-is-flash-gpio@0 {
		compatible = "samsung,sensor-flash-gpio";
		id = <0>;
		status = "okay";

		torch-gpio = <&gpg3 1 0x1>;
		flash-gpio = <&gpg3 0 0x1>;
	};

	fimc_is_sensor_2p8: fimc-is_sensor_2p8@20 {
		compatible = "samsung,sensor-module-2p8";

		pinctrl-names = "pin0", "pin1", "pin2", "release";
		pinctrl-0 = <>;
		pinctrl-1 = <&fimc_is_mclk0_out>;
		pinctrl-2 = <&fimc_is_mclk0_fn>;
		pinctrl-3 = <>;

		position = <0>;	/* Rear:0. Front:1. Rear_sub:2. Secure:3. */
		id = <0>; /* fimc_is_sensor id */
		mclk_ch = <0>;
		sensor_i2c_ch = <0>; /* SENSOR_CONTROL_I2C0 */

		gpio_mclk = <&gpc2 0 0x1>;
		gpio_reset = <&gpc1 0 0x1>; /* sensor reset */

		power_seq_id = <1>; /* Rumba S6 Compatible */

		status = "okay";

		af {
			product_name = <7>; /* ACTUATOR_NAME_AK7345 */
			i2c_ch = <0>; /* SENSOR_CONTROL_I2C0 */
		};
	};

	fimc_is_sensor_rpb: fimc-is_sensor_rpb@20 {
		compatible = "samsung,sensor-module-rpb";

		pinctrl-names = "pin0", "pin1", "pin2", "release";
		pinctrl-0 = <>;
		pinctrl-1 = <&fimc_is_mclk0_out>;
		pinctrl-2 = <&fimc_is_mclk0_fn>;
		pinctrl-3 = <>;

		position = <0>;	/* Rear:0. Front:1. Rear_sub:2. Secure:3. */
		id = <0>; /* fimc_is_sensor id */
		mclk_ch = <0>;
		sensor_i2c_ch = <0>; /* SENSOR_CONTROL_I2C0 */

		gpio_mclk = <&gpc2 0 0x1>;
		gpio_reset = <&gpg1 5 0x1>; /* sensor reset */

		power_seq_id = <1>; /* Rumba S6 Compatible */

		status = "okay";

		af {
			product_name = <19>; /* ACTUATOR_NAME_DW9780 */
			i2c_ch = <3>; /* SENSOR_CONTROL_I2C3 */
		};

		flash {
			product_name = <11>; /* FLASH_GPIO */
			flash_first_gpio = <2>;
			flash_second_gpio = <1>;
		};

		ois {
			product_name = <100>; /* NOTHING */
		};

		internal_vc {
			/* vc_list = <channel, data_type, buffer_offset>
			 * channel : Output VC channel
			 *  - Supported channels are 1(VC1), 2(VC2), 3(VC3)
			 *  - Since channel 0(VC0) is dedicated to image data, it can not be used

			 * data_type : Output type of VC channel
			 *  - Value 0 VC_NOTHING
			 *  - Value 1 VC_TAILPDAF
			 *  - Value 2 VC_MIPISTAT
			 *  - Value 3 VC_EMBEDDED
			 * buffer_offset : get_vc_dma_buf offset value of buffer to return when using interface

			 *  - Value 0 N buffer return
			 *  - Value 1 N-1 buffer return
			 */

			/* vc_list = <1 VC_EMBEDDED 0 2 VC_MIPISTAT 1>; *//* channel, type, offset */
		};
	};

	/* FRONT CAMERA */
	fimc_is_sensor_6b2: fimc-is_sensor_6b2@7 {
		compatible = "samsung,sensor-module-6b2";

		pinctrl-names = "pin0", "pin1", "pin2", "release";
		pinctrl-0 = <>;
		pinctrl-1 = <&fimc_is_mclk1_out>;
		pinctrl-2 = <&fimc_is_mclk1_fn>;
		pinctrl-3 = <>;

		position = <1>;	/* Rear:0. Front:1. Rear_sub:2. Secure:3. */
		id = <1>; /* fimc_is_sensor id */
		mclk_ch = <1>;
		sensor_i2c_ch = <2>; /* SENSOR_CONTROL_I2C4 */

		gpio_mclk = <&gpc2 1 0x1>;
		gpio_reset = <&gpc1 2 0x1>; /* sensor reset */
		status = "okay";

		af {
			product_name = <100>; /* NOTHING */
			i2c_ch = <2>; /* SENSOR_CONTROL_I2C2 */
		};

		flash {
			product_name = <100>; /* NOTHING */
		};

		ois {
			product_name = <100>; /* NOTHING */
		};

		internal_vc {
			/* DUMMY */
		};
	};

	/* I2C_CAM0 */ /* SENSOR_CONTROL_I2C0 */
	hsi2c_12: hsi2c@138A0000 {
		gpios = <&gpc0 0 0 &gpc0 1 0>;
		status = "okay";
		clock-frequency = <400000>;
		samsung,reset-before-trans;
		samsung,polling-mode;

		fimc-is-rpb@10 {
			compatible = "samsung,exynos5-fimc-is-cis-rpb";
			reg = <0x10>; /* 1 bit right shift */
			id = <0>; /* matching fimc_is_sensor id */
			setfile = "setA";
		};

		fimc-is-2p8@2d {
			compatible = "samsung,exynos5-fimc-is-cis-2p8";
			reg = <0x2d>; /* 1 bit right shift */
			id = <0>; /* matching fimc_is_sensor id */
			setfile = "setA";
		};

		fimc-is-actuator@0C {
			compatible = "samsung,exynos5-fimc-is-actuator-ak7345";
			reg = <0x0C>; /* 1 bit right shift */
			id = <0>; /* matching fimc_is_sensor id */
		};
	};

	/* I2C_CAM2 */ /* SENSOR_CONTROL_I2C2 */
	hsi2c_14: hsi2c@138C0000 {
		gpios = <&gpc0 4 0 &gpc0 5 0>;
		status = "okay";
		clock-frequency = <400000>;
		samsung,reset-before-trans;

		fimc-is-6b2@35 {
			compatible = "samsung,exynos5-fimc-is-cis-6b2";
			reg = <0x35>; /* 1 bit right shift */
			id = <1>; /* matching fimc_is_sensor id */
			setfile = "setA";
		};
	};

	/* I2C_CAM3 */ /* SENSOR_CONTROL_I2C3 */
	hsi2c_15: hsi2c@138D0000 {
		gpios = <&gpc0 6 0 &gpc0 7 0>;
		status = "okay";
		clock-frequency = <400000>;
		samsung,reset-before-trans;

		fimc-is-actuator@72 {
			compatible = "samsung,exynos5-fimc-is-actuator-dw9780";
			reg = <0x72>; /* 1 bit right shift */
			id = <0>; /* matching fimc_is_sensor id */
		};
	};

	fimc_is_sensor0: fimc_is_sensor@14400000 {
		scenario = <SENSOR_SCENARIO_NORMAL>;	/* Normal, Vision, OIS etc */
		id = <0>;
		csi_ch = <0>;
		dma_ch = <0 0 0 0 0 1 1 1>;
		vc_ch = <0 1 2 3 0 1 2 3>;
		flite_ch = <FLITE_ID_NOTHING>;
		is_bns = <0>;
		/* use_ssvc1_internal; */
		/* use_ssvc2_internal; */
		status = "okay";
	};

	fimc_is_sensor1: fimc_is_sensor@14410000 {
		scenario = <SENSOR_SCENARIO_NORMAL>;	/* Normal, Vision, OIS etc */
		id = <1>;
		csi_ch = <1>;
		dma_ch = <2 2 2 2 2 1 1 1>;
		vc_ch = <0 1 2 3 1 2 1 3>;
		flite_ch = <FLITE_ID_NOTHING>;
		is_bns = <0>;
		status = "okay";
	};

	fimc_is_sensor2: fimc_is_sensor@14420000 {
		scenario = <SENSOR_SCENARIO_NORMAL>;	/* Normal, Vision, OIS etc */
		id = <2>;
		csi_ch = <2>;
		dma_ch = <2 2 2 2>;
		vc_ch = <0 1 2 3>;
		flite_ch = <FLITE_ID_NOTHING>;
		is_bns = <0>;
		status = "okay";
	};

	fimc_is_sensor3: fimc_is_sensor@14430000 {
		scenario = <SENSOR_SCENARIO_SECURE>;	/* Normal, Vision, OIS etc */
		id = <3>;
		csi_ch = <3>;
		dma_ch = <3 3 3 3>;
		vc_ch = <0 1 2 3>;
		flite_ch = <FLITE_ID_NOTHING>;
		is_bns = <0>;
		status = "okay";
	};

};
